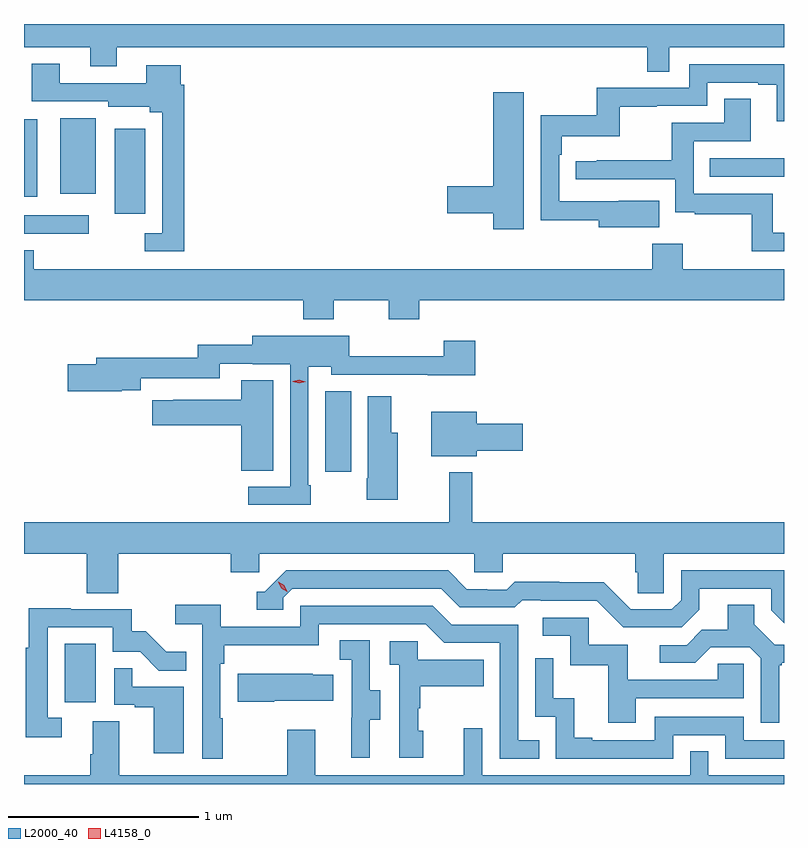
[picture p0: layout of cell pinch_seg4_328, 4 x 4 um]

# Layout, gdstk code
import gdstk
lib = gdstk.Library(unit=1e-6, precision=1e-09)
def R(c, l, rs):  # rectangles x0, y0, x1, y1
    for r in rs: c.add(gdstk.rectangle(r[:2], r[2:], *l))
def P(c, l, *ps):  # polygons
    for p in ps: c.add(gdstk.Polygon(p, *l))
L2000_40 = (2000, 40)
L4158_0 = (4158, 0)

pinch_seg4_328 = lib.new_cell('pinch_seg4_328')
R(pinch_seg4_328, L2000_40, [(999.152,806.694,999.316,807.001), (1000.523,807.906,1000.66,808.331), (998.938,809.16,999.28,809.256), (999.416,809.265,999.577,809.713), (998.938,809.354,999.007,809.761), (999.128,809.369,999.316,809.767), (1002.547,809.46,1002.938,809.556)])
P(pinch_seg4_328, L2000_40, [(998.938,810.14),(999.287,810.14),(999.287,810.041),(999.427,810.041),(999.427,810.14),(1002.217,810.14),(1002.217,810.013),(1002.333,810.013),(1002.333,810.14),(1002.938,810.14),(1002.938,810.263),(998.938,810.263)],
  [(999.782,809.942),(999.763,809.942),(999.763,810.046),(999.581,810.046),(999.581,809.952),(999.127,809.952),(999.127,810.055),(998.98,810.055),(998.98,809.856),(999.381,809.856),(999.381,809.828),(999.6,809.828),(999.6,809.798),(999.666,809.798),(999.666,809.163),(999.573,809.163),(999.573,809.067),(999.782,809.067)],
  [(1002.281,809.332),(1002.067,809.332),(1002.067,809.331),(1001.754,809.331),(1001.754,809.576),(1001.768,809.576),(1001.768,809.672),(1002.073,809.672),(1002.073,809.827),(1002.269,809.827),(1002.269,809.832),(1002.534,809.832),(1002.534,809.955),(1002.803,809.955),(1002.803,809.943),(1002.899,809.943),(1002.899,809.75),(1002.938,809.75),(1002.938,810.051),(1002.438,810.051),(1002.438,809.928),(1001.952,809.928),(1001.952,809.782),(1001.658,809.782),(1001.658,809.23),(1001.963,809.23),(1001.963,809.192),(1002.281,809.192)],
  [(1001.569,809.905),(1001.408,809.905),(1001.408,809.408),(1001.166,809.408),(1001.166,809.266),(1001.408,809.266),(1001.408,809.184),(1001.569,809.184)],
  [(1002.938,809.164),(1002.879,809.164),(1002.879,809.37),(1002.462,809.37),(1002.462,809.646),(1002.763,809.646),(1002.763,809.87),(1002.623,809.87),(1002.623,809.742),(1002.346,809.742),(1002.346,809.546),(1001.953,809.546),(1001.953,809.541),(1001.841,809.541),(1001.841,809.445),(1002.366,809.445),(1002.366,809.273),(1002.469,809.273),(1002.469,809.262),(1002.768,809.262),(1002.768,809.067),(1002.938,809.067)],
  [(1000.569,808.808),(1000.858,808.808),(1000.858,808.709),(1001.018,808.709),(1001.018,808.808),(1002.938,808.808),(1002.938,808.972),(1002.405,808.972),(1002.405,809.107),(1002.245,809.107),(1002.245,808.972),(998.99,808.972),(998.99,809.071),(998.938,809.071),(998.938,808.808),(1000.409,808.808),(1000.409,808.709),(1000.569,808.709)],
  [(1000.447,807.835),(1000.434,807.835),(1000.434,808.46),(1000.554,808.46),(1000.554,808.416),(1001.063,808.416),(1001.063,808.415),(1001.312,808.415),(1001.312,808.597),(1001.147,808.597),(1001.147,808.514),(1000.65,808.514),(1000.65,808.621),(1000.139,808.621),(1000.139,808.575),(999.853,808.575),(999.853,808.507),(999.317,808.507),(999.317,808.473),(999.168,808.473),(999.168,808.331),(999.452,808.331),(999.452,808.336),(999.552,808.336),(999.552,808.398),(999.969,808.398),(999.969,808.476),(1000.143,808.476),(1000.143,808.472),(1000.338,808.472),(1000.338,807.828),(1000.119,807.828),(1000.119,807.732),(1000.447,807.732)],
  [(1000.249,808.387),(1000.082,808.387),(1000.082,808.285),(999.724,808.285),(999.724,808.282),(999.613,808.282),(999.613,808.151),(1000.082,808.151),(1000.082,807.913),(1000.249,807.913)],
  [(1000.906,808.111),(1000.87,808.111),(1000.87,808.303),(1000.748,808.303),(1000.748,807.871),(1000.741,807.871),(1000.741,807.759),(1000.906,807.759)],
  [(1001.32,808.018),(1001.563,808.018),(1001.563,808.16),(1001.32,808.16),(1001.32,808.222),(1001.081,808.222),(1001.081,807.989),(1001.32,807.989)],
  [(999.434,807.476),(1000.025,807.476),(1000.025,807.378),(1000.176,807.378),(1000.176,807.476),(1001.307,807.476),(1001.307,807.378),(1001.457,807.378),(1001.457,807.476),(1002.155,807.476),(1002.155,807.378),(1002.169,807.378),(1002.169,807.268),(1002.306,807.268),(1002.306,807.476),(1002.938,807.476),(1002.938,807.64),(1001.297,807.64),(1001.297,807.904),(1001.176,807.904),(1001.176,807.64),(998.938,807.64),(998.938,807.476),(999.269,807.476),(999.269,807.268),(999.434,807.268)],
  [(1002.493,807.181),(1002.493,807.291),(1002.87,807.291),(1002.87,807.177),(1002.938,807.109),(1002.938,807.387),(1002.396,807.387),(1002.396,807.231),(1002.348,807.183),(1002.132,807.183),(1001.99,807.325),(1001.754,807.325),(1001.754,807.328),(1001.521,807.328),(1001.479,807.285),(1001.376,807.285),(1001.376,807.288),(1001.269,807.288),(1001.17,807.387),(1000.317,807.387),(1000.206,807.276),(1000.163,807.276),(1000.163,807.18),(1000.302,807.18),(1000.302,807.243),(1000.35,807.291),(1001.133,807.291),(1001.232,807.192),(1001.521,807.192),(1001.56,807.231),(1001.659,807.231),(1001.659,807.228),(1001.952,807.228),(1002.093,807.087),(1002.399,807.087)],
  [(999.985,806.609),(999.972,806.609),(999.972,806.897),(999.992,806.897),(999.992,806.993),(1000.488,806.993),(1000.488,807.105),(1001.052,807.105),(1001.151,807.006),(1001.442,807.006),(1001.442,806.397),(1001.651,806.397),(1001.651,806.493),(1001.538,806.493),(1001.538,807.102),(1001.188,807.102),(1001.089,807.201),(1000.392,807.201),(1000.392,807.09),(999.974,807.09),(999.974,807.206),(999.735,807.206),(999.735,807.104),(999.876,807.104),(999.876,806.397),(999.985,806.397)],
  [(1002.913,806.889),(1002.925,806.889),(1002.925,806.9),(1002.938,806.9),(1002.938,806.997),(1002.888,806.997),(1002.781,807.104),(1002.781,807.206),(1002.641,807.206),(1002.641,807.074),(1002.506,807.074),(1002.426,806.994),(1002.285,806.994),(1002.285,806.901),(1002.472,806.901),(1002.553,806.982),(1002.759,806.982),(1002.816,806.925),(1002.816,806.586),(1002.913,806.586)],
  [(999.136,806.613),(999.063,806.613),(999.063,807.087),(999.405,807.087),(999.405,806.958),(999.549,806.958),(999.647,806.86),(999.791,806.86),(999.791,806.959),(999.687,806.959),(999.58,807.066),(999.504,807.066),(999.504,807.183),(999.185,807.183),(999.185,807.188),(998.962,807.188),(998.962,806.98),(998.947,806.98),(998.947,806.508),(999.136,806.508)],
  [(1002.157,806.715),(1002.726,806.715),(1002.726,806.895),(1002.589,806.895),(1002.589,806.811),(1002.115,806.811),(1002.115,806.997),(1001.91,806.997),(1001.91,807.138),(1001.667,807.138),(1001.667,807.042),(1001.814,807.042),(1001.814,806.889),(1002.013,806.889),(1002.013,806.586),(1002.157,806.586)],
  [(1000.759,806.602),(1000.813,806.602),(1000.813,806.757),(1000.758,806.757),(1000.758,807.02),(1000.599,807.02),(1000.599,806.917),(1000.662,806.917),(1000.662,806.613),(1000.661,806.613),(1000.661,806.4),(1000.759,806.4)],
  [(1001.038,806.544),(1001.013,806.544),(1001.013,806.663),(1001.023,806.663),(1001.023,806.777),(1001.357,806.777),(1001.357,806.917),(1001.01,806.917),(1001.01,807.015),(1000.863,807.015),(1000.863,806.891),(1000.914,806.891),(1000.914,806.4),(1001.038,806.4)],
  [(1002.354,806.52),(1002.63,806.52),(1002.63,806.397),(1002.938,806.397),(1002.938,806.493),(1002.726,806.493),(1002.726,806.616),(1002.258,806.616),(1002.258,806.493),(1001.929,806.493),(1001.929,806.506),(1001.834,806.506),(1001.834,806.714),(1001.724,806.714),(1001.724,806.926),(1001.628,806.926),(1001.628,806.616),(1001.736,806.616),(1001.736,806.397),(1002.354,806.397)],
  [(999.778,806.775),(999.509,806.775),(999.509,806.873),(999.414,806.873),(999.414,806.679),(999.521,806.679),(999.521,806.667),(999.62,806.667),(999.62,806.424),(999.778,806.424)],
  [(1000.255,806.702),(1000.565,806.702),(1000.565,806.839),(1000.457,806.839),(1000.457,806.842),(1000.064,806.842),(1000.064,806.695),(1000.255,806.695)],
  [(1002.938,806.308),(1002.54,806.308),(1002.54,806.435),(1002.444,806.435),(1002.444,806.308),(1001.349,806.308),(1001.349,806.557),(1001.252,806.557),(1001.252,806.308),(1000.471,806.308),(1000.471,806.548),(1000.324,806.548),(1000.324,806.308),(999.439,806.308),(999.439,806.594),(999.299,806.594),(999.299,806.42),(999.287,806.42),(999.287,806.308),(998.938,806.308),(998.938,806.263),(1002.938,806.263)])
P(pinch_seg4_328, L4158_0, [(1000.323,807.275),(1000.292,807.294),(1000.276,807.327),(1000.276,807.327),(1000.276,807.327),(1000.307,807.308),(1000.324,807.275),(1000.324,807.275)],
  [(1000.386,808.371),(1000.352,808.381),(1000.352,808.381),(1000.352,808.382),(1000.386,808.391),(1000.421,808.381),(1000.421,808.38),(1000.421,808.38)])

lib.write_gds('pinch_seg4_328.gds')
